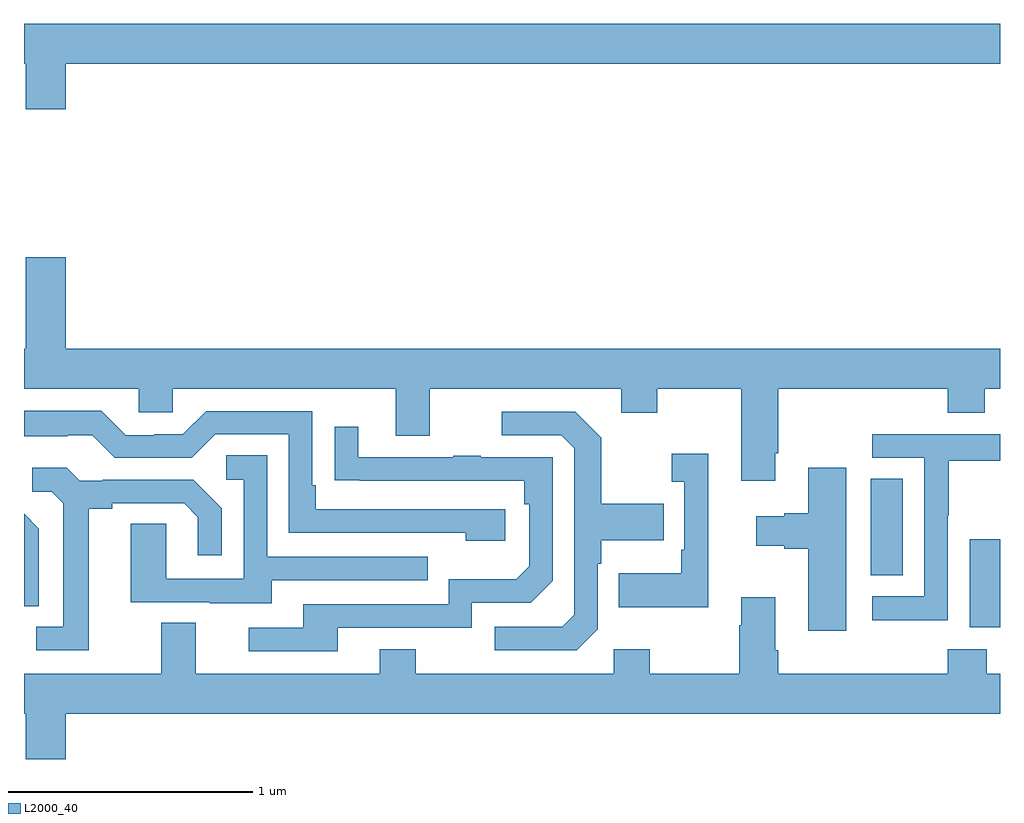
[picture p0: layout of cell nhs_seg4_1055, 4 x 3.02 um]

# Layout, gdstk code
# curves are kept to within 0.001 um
import gdstk
lib = gdstk.Library(unit=1e-6, precision=1e-09)
def R(c, l, rs):  # rectangles x0, y0, x1, y1
    for r in rs: c.add(gdstk.rectangle(r[:2], r[2:], *l))
def P(c, l, *ps):  # polygons
    for p in ps: c.add(gdstk.Polygon(p, *l))
L2000_40 = (2000, 40)

nhs_seg4_1055 = lib.new_cell('nhs_seg4_1055')
R(nhs_seg4_1055, L2000_40, [(168.875,795.842,169,796.203), (168.47,796.054,168.601,796.451)])
P(nhs_seg4_1055, L2000_40, [(165.172,798.152),(169,798.152),(169,798.316),(165,798.316),(165,798.152),(165.008,798.152),(165.008,797.964),(165.172,797.964)],
  [(168.079,796.555),(168.092,796.555),(168.092,796.82),(168.785,796.82),(168.785,796.721),(168.937,796.721),(168.937,796.82),(169,796.82),(169,796.984),(165.172,796.984),(165.172,797.359),(165.008,797.359),(165.008,796.984),(165,796.984),(165,796.82),(165.471,796.82),(165.471,796.722),(165.609,796.722),(165.609,796.82),(166.523,796.82),(166.523,796.626),(166.663,796.626),(166.663,796.82),(167.447,796.82),(167.447,796.721),(167.595,796.721),(167.595,796.82),(167.939,796.82),(167.939,796.443),(168.079,796.443)],
  [(166.972,796.326),(166.195,796.326),(166.195,796.423),(166.182,796.423),(166.182,796.728),(165.747,796.728),(165.651,796.632),(165.533,796.632),(165.533,796.629),(165.417,796.629),(165.317,796.729),(165,796.729),(165,796.625),(165.179,796.625),(165.179,796.629),(165.279,796.629),(165.372,796.536),(165.687,796.536),(165.783,796.632),(166.086,796.632),(166.086,796.23),(166.811,796.23),(166.811,796.196),(166.972,796.196)],
  [(167.352,795.834),(167.352,796.103),(167.365,796.103),(167.365,796.199),(167.621,796.199),(167.621,796.347),(167.365,796.347),(167.365,796.619),(167.259,796.725),(166.959,796.725),(166.959,796.629),(167.202,796.629),(167.256,796.575),(167.256,795.894),(167.205,795.843),(166.929,795.843),(166.929,795.747),(167.265,795.747)],
  [(166.285,795.84),(166.836,795.84),(166.836,795.942),(167.076,795.942),(167.166,796.032),(167.166,796.539),(166.871,796.539),(166.871,796.544),(166.759,796.544),(166.759,796.539),(166.369,796.539),(166.369,796.663),(166.273,796.663),(166.273,796.444),(167.05,796.443),(167.05,796.346),(167.07,796.346),(167.07,796.092),(167.017,796.039),(166.74,796.039),(166.74,795.936),(166.145,795.936),(166.145,795.84),(165.921,795.84),(165.921,795.744),(166.285,795.744)],
  [(168.786,796.3),(168.789,796.3),(168.789,796.524),(169,796.524),(169,796.632),(168.477,796.632),(168.477,796.536),(168.69,796.536),(168.69,795.969),(168.477,795.969),(168.477,795.871),(168.786,795.871)],
  [(167.804,796.552),(167.655,796.552),(167.655,796.439),(167.706,796.439),(167.706,796.159),(167.694,796.159),(167.694,796.063),(167.437,796.063),(167.437,795.923),(167.804,795.923)],
  [(166.015,796.035),(166.655,796.035),(166.655,796.131),(165.996,796.131),(165.996,796.547),(165.828,796.547),(165.828,796.446),(165.9,796.446),(165.9,796.041),(165.582,796.041),(165.582,796.265),(165.437,796.265),(165.437,795.945),(165.761,795.945),(165.761,795.941),(166.015,795.941)],
  [(168.37,796.495),(168.215,796.495),(168.215,796.31),(168.116,796.31),(168.116,796.297),(168,796.297),(168,796.175),(168.116,796.175),(168.116,796.163),(168.215,796.163),(168.215,795.828),(168.37,795.828)],
  [(165.265,796.328),(165.361,796.328),(165.361,796.35),(165.656,796.35),(165.713,796.293),(165.713,796.137),(165.81,796.137),(165.81,796.33),(165.694,796.446),(165.322,796.446),(165.322,796.443),(165.228,796.443),(165.176,796.495),(165.033,796.495),(165.033,796.398),(165.114,796.398),(165.161,796.351),(165.161,795.843),(165.051,795.843),(165.051,795.747),(165.265,795.747)],
  [(165.06,796.246),(165,796.306),(165,795.928),(165.06,795.928)],
  [(165.172,795.488),(169,795.488),(169,795.652),(168.945,795.652),(168.945,795.751),(168.785,795.751),(168.785,795.652),(168.092,795.652),(168.092,795.748),(168.079,795.748),(168.079,795.964),(167.939,795.964),(167.939,795.851),(167.932,795.851),(167.932,795.652),(167.565,795.652),(167.565,795.751),(167.418,795.751),(167.418,795.652),(166.605,795.652),(166.605,795.751),(166.457,795.751),(166.457,795.652),(165.703,795.652),(165.703,795.86),(165.563,795.86),(165.563,795.652),(165,795.652),(165,795.488),(165.008,795.488),(165.008,795.3),(165.172,795.3)])

lib.write_gds('nhs_seg4_1055.gds')
